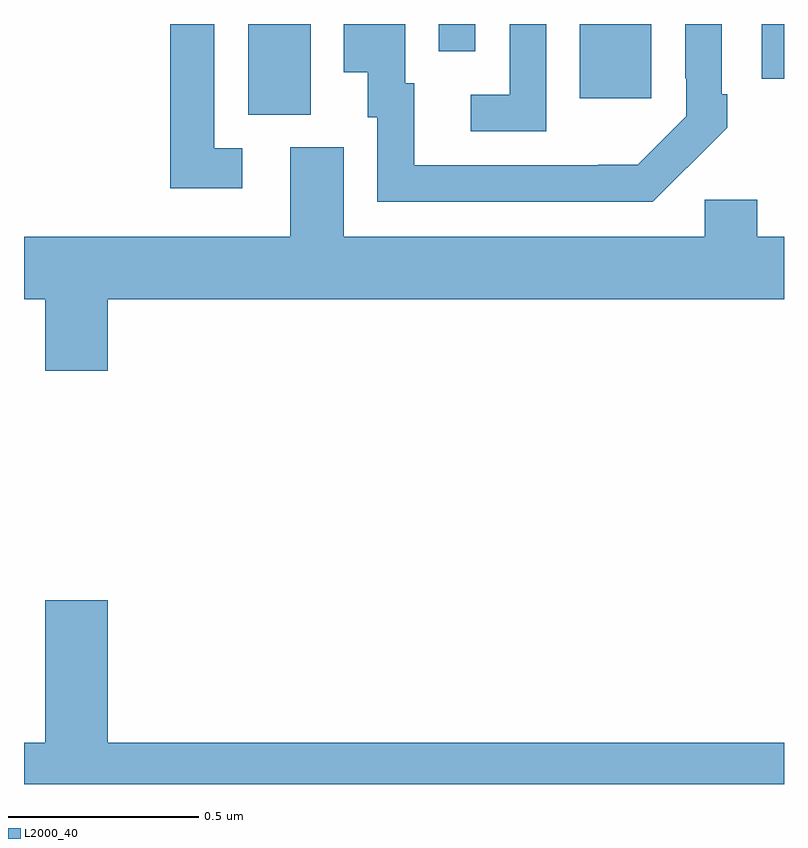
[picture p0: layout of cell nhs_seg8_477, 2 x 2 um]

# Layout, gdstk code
import gdstk
lib = gdstk.Library(unit=1e-6, precision=1e-09)
def R(c, l, rs):  # rectangles x0, y0, x1, y1
    for r in rs: c.add(gdstk.rectangle(r[:2], r[2:], *l))
def P(c, l, *ps):  # polygons
    for p in ps: c.add(gdstk.Polygon(p, *l))
L2000_40 = (2000, 40)

nhs_seg8_477 = lib.new_cell('nhs_seg8_477')
R(nhs_seg8_477, L2000_40, [(117.59,1107.661,117.754,1107.9), (118.463,1107.705,118.651,1107.9), (118.941,1107.756,119,1107.9), (118.092,1107.828,118.188,1107.9)])
P(nhs_seg8_477, L2000_40, [(117.574,1107.573),(117.501,1107.573),(117.501,1107.9),(117.385,1107.9),(117.385,1107.468),(117.574,1107.468)],
  [(118.374,1107.9),(118.278,1107.9),(118.278,1107.714),(118.176,1107.714),(118.176,1107.618),(118.374,1107.618)],
  [(118.745,1107.523),(118.746,1107.522),(118.851,1107.627),(118.851,1107.715),(118.836,1107.715),(118.836,1107.9),(118.74,1107.9),(118.74,1107.757),(118.743,1107.757),(118.743,1107.657),(118.615,1107.529),(118.511,1107.529),(118.511,1107.528),(118.027,1107.528),(118.027,1107.744),(118.003,1107.744),(118.003,1107.9),(117.842,1107.9),(117.842,1107.773),(117.905,1107.773),(117.905,1107.654),(117.93,1107.654),(117.93,1107.432),(118.654,1107.432)],
  [(117.22,1107.176),(119,1107.176),(119,1107.34),(118.93,1107.34),(118.93,1107.438),(118.791,1107.438),(118.791,1107.34),(117.841,1107.34),(117.841,1107.576),(117.701,1107.576),(117.701,1107.34),(117,1107.34),(117,1107.176),(117.056,1107.176),(117.056,1106.988),(117.22,1106.988)],
  [(119,1106.008),(117.22,1106.008),(117.22,1106.383),(117.056,1106.383),(117.056,1106.008),(117,1106.008),(117,1105.9),(119,1105.9)])

lib.write_gds('nhs_seg8_477.gds')
